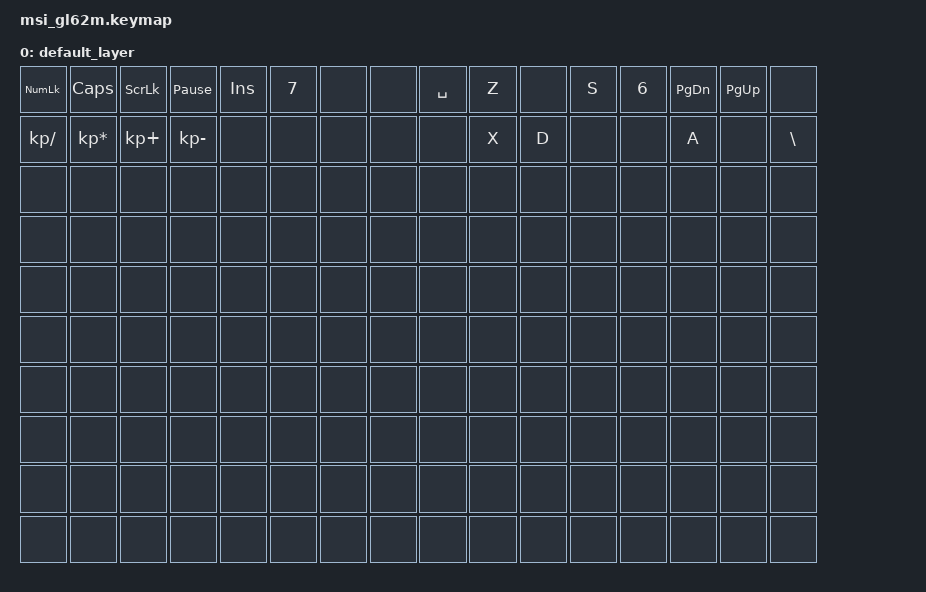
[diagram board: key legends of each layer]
#include <behaviors.dtsi>
#include <dt-bindings/zmk/keys.h>
#include <dt-bindings/zmk/bt.h>

/ {
    keymap {
        compatible = "zmk,keymap";

        default_layer {
            bindings = <
                &kp KP_NUM  &kp CAPS    &kp SLCK    &kp PAUSE_BREAK &kp INS     &kp N7      &none       &none       &kp SPACE   &kp Z       &none       &kp S       &kp N6      &kp PG_DN   &kp PG_UP   &none
                &kp KP_DIVIDE &kp KP_MULTIPLY &kp KP_PLUS &kp KP_MINUS &none    &none       &none       &none       &none       &kp X       &kp D       &none       &none       &kp A       &none       &kp BSLH
                &none       &none       &none       &none       &none       &none       &none       &none       &none       &none       &none       &none       &none       &none       &none       &none
                &none       &none       &none       &none       &none       &none       &none       &none       &none       &none       &none       &none       &none       &none       &none       &none
                &none       &none       &none       &none       &none       &none       &none       &none       &none       &none       &none       &none       &none       &none       &none       &none
                &none       &none       &none       &none       &none       &none       &none       &none       &none       &none       &none       &none       &none       &none       &none       &none
                &none       &none       &none       &none       &none       &none       &none       &none       &none       &none       &none       &none       &none       &none       &none       &none
                &none       &none       &none       &none       &none       &none       &none       &none       &none       &none       &none       &none       &none       &none       &none       &none
                &none       &none       &none       &none       &none       &none       &none       &none       &none       &none       &none       &none       &none       &none       &none       &none
                &none       &none       &none       &none       &none       &none       &none       &none       &none       &none       &none       &none       &none       &none       &none       &none
            >;
        };
    };
};
